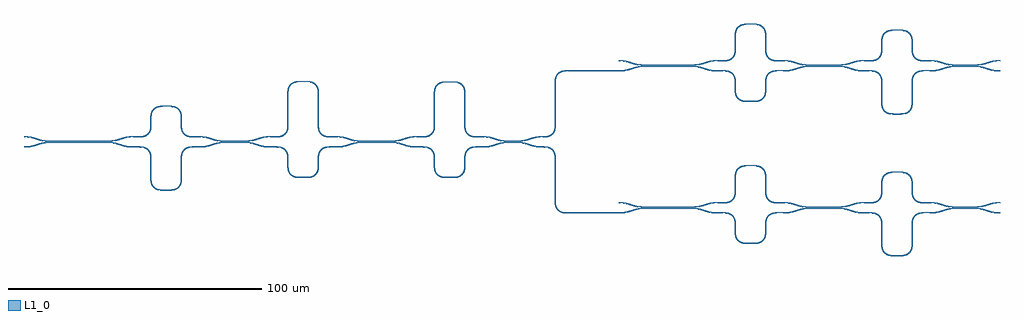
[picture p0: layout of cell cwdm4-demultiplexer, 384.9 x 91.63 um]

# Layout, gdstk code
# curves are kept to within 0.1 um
from math import pi, radians
import gdstk
lib = gdstk.Library(unit=1e-6, precision=1e-09)
def R(c, l, rs):  # rectangles x0, y0, x1, y1
    for r in rs: c.add(gdstk.rectangle(r[:2], r[2:], *l))
def P(c, l, *ps):  # polygons
    for p in ps: c.add(gdstk.Polygon(p, *l))
L1_0 = (1, 0)

coupler_gdsfactorypcompo = lib.new_cell('coupler_gdsfactorypcomponentspcouplerspcoupler_G0p2_L23_389e5cbf')
P(coupler_gdsfactorypcompo, L1_0, [(-10,-1.9),(-10,-1.5),(-8.63,-1.451),(-7.311,-1.285),(-6.238,-1.036),(-4.203,-0.377),(-3.153,-0.1),(-1.888,0.105),(-0.303,0.198),(24.059,0.175),(25.28,0.062),(26.39,-0.142),(29.125,-0.989),(30.264,-1.267),(31.438,-1.431),(33.05,-1.5),(33.05,-1.9),(31.908,-1.868),(30.71,-1.747),(29.18,-1.421),(26.209,-0.511),(25.007,-0.306),(23.906,-0.218),(-0.297,-0.202),(-1.612,-0.269),(-2.976,-0.471),(-4.006,-0.735),(-6.13,-1.421),(-7.342,-1.696),(-8.6,-1.85)],
  [(0,0.4),(-1.4,0.45),(-2.554,0.586),(-3.87,0.879),(-5.994,1.565),(-7.024,1.829),(-8.388,2.031),(-10,2.1),(-10,2.5),(-8.6,2.45),(-7.446,2.314),(-6.13,2.021),(-4.006,1.335),(-2.976,1.071),(-1.612,0.869),(0,0.8),(23.906,0.818),(25.007,0.906),(26.209,1.111),(29.095,1.997),(30.189,2.26),(31.524,2.44),(33.05,2.5),(33.05,2.1),(31.438,2.031),(30.264,1.867),(29.125,1.589),(26.39,0.742),(25.39,0.553),(24.192,0.432)])

c_coupler_gdsfactorypcompo = lib.new_cell('coupler_gdsfactorypcomponentspcouplerspcoupler_G0p2_L8p_850af633')
P(c_coupler_gdsfactorypcompo, L1_0, [(-10,-1.9),(-10,-1.5),(-8.63,-1.451),(-7.311,-1.285),(-6.238,-1.036),(-4.203,-0.377),(-3.153,-0.1),(-1.888,0.105),(-0.303,0.198),(8.333,0.198),(9.679,0.129),(11.552,-0.186),(14.105,-0.989),(15.244,-1.267),(16.418,-1.431),(18.03,-1.5),(18.03,-1.9),(16.888,-1.868),(15.69,-1.747),(14.16,-1.421),(11.279,-0.532),(10.312,-0.349),(9.275,-0.24),(-0.297,-0.202),(-1.612,-0.269),(-2.976,-0.471),(-4.006,-0.735),(-6.13,-1.421),(-7.342,-1.696),(-8.6,-1.85)],
  [(0,0.4),(-1.4,0.45),(-2.554,0.586),(-3.87,0.879),(-5.994,1.565),(-7.024,1.829),(-8.388,2.031),(-10,2.1),(-10,2.5),(-8.6,2.45),(-7.446,2.314),(-6.13,2.021),(-4.006,1.335),(-2.976,1.071),(-1.612,0.869),(0,0.8),(8.327,0.802),(9.642,0.869),(11.454,1.174),(14.075,1.997),(15.169,2.26),(16.504,2.44),(18.03,2.5),(18.03,2.1),(16.418,2.031),(15.244,1.867),(14.105,1.589),(11.552,0.786),(9.918,0.495),(8.333,0.402)])

c_coupler_gdsfactorypcompo_ = lib.new_cell('coupler_gdsfactorypcomponentspcouplerspcoupler_G0p2_L11_c30fc917')
P(c_coupler_gdsfactorypcompo_, L1_0, [(-10,-1.9),(-10,-1.5),(-8.63,-1.451),(-7.311,-1.285),(-6.238,-1.036),(-4.203,-0.377),(-3.153,-0.1),(-1.888,0.105),(-0.303,0.198),(11.77,0.2),(13.17,0.15),(14.218,0.031),(15.202,-0.164),(17.845,-0.989),(18.984,-1.267),(20.158,-1.431),(21.77,-1.5),(21.77,-1.9),(20.628,-1.868),(19.43,-1.747),(17.9,-1.421),(14.929,-0.511),(13.946,-0.334),(12.888,-0.232),(-0.297,-0.202),(-1.612,-0.269),(-2.976,-0.471),(-4.006,-0.735),(-6.13,-1.421),(-7.342,-1.696),(-8.6,-1.85)],
  [(0,0.4),(-1.4,0.45),(-2.554,0.586),(-3.87,0.879),(-5.994,1.565),(-7.024,1.829),(-8.388,2.031),(-10,2.1),(-10,2.5),(-8.6,2.45),(-7.446,2.314),(-6.13,2.021),(-4.006,1.335),(-2.976,1.071),(-1.612,0.869),(0,0.8),(11.77,0.8),(13.14,0.849),(14.259,0.981),(15.194,1.174),(17.815,1.997),(18.909,2.26),(20.244,2.44),(21.77,2.5),(21.77,2.1),(20.158,2.031),(18.984,1.867),(17.845,1.589),(15.292,0.786),(13.419,0.471),(11.77,0.4)])

c_coupler_gdsfactorypcompo__ = lib.new_cell('coupler_gdsfactorypcomponentspcouplerspcoupler_G0p2_L3p_db5099a5')
P(c_coupler_gdsfactorypcompo__, L1_0, [(-10,-1.9),(-10,-1.5),(-8.63,-1.451),(-7.311,-1.285),(-6.238,-1.036),(-4.203,-0.377),(-3.153,-0.1),(-1.888,0.105),(-0.303,0.198),(3.953,0.198),(5.654,0.091),(7.261,-0.209),(9.725,-0.989),(10.768,-1.248),(12.038,-1.431),(13.65,-1.5),(13.65,-1.9),(12.001,-1.829),(10.218,-1.536),(7.329,-0.641),(5.826,-0.334),(4.232,-0.208),(-0.297,-0.202),(-1.612,-0.269),(-2.976,-0.471),(-4.006,-0.735),(-6.13,-1.421),(-7.342,-1.696),(-8.6,-1.85)],
  [(0,0.4),(-1.4,0.45),(-2.554,0.586),(-3.87,0.879),(-5.994,1.565),(-7.024,1.829),(-8.388,2.031),(-10,2.1),(-10,2.5),(-8.6,2.45),(-7.446,2.314),(-6.13,2.021),(-4.006,1.335),(-2.976,1.071),(-1.612,0.869),(0,0.8),(3.947,0.802),(5.607,0.906),(7.16,1.196),(9.695,1.997),(10.789,2.26),(12.124,2.44),(13.65,2.5),(13.65,2.1),(12.038,2.031),(10.674,1.829),(9.644,1.565),(7.52,0.879),(6.098,0.569),(4.244,0.408)])

unnamed_17 = lib.new_cell('Unnamed_17')
P(unnamed_17, L1_0, [(33.05,2.1),(33.05,2.5),(36.011,2.515),(37.204,2.679),(38.095,3.036),(38.885,3.671),(39.448,4.513),(39.753,5.536),(39.844,6.612),(39.896,10.705),(40.041,11.554),(40.362,12.402),(40.711,12.95),(41.033,13.317),(41.4,13.639),(41.948,13.988),(42.517,14.227),(43.078,14.372),(44.492,14.497),(47.608,14.497),(48.739,14.42),(49.857,14.126),(50.434,13.826),(50.827,13.537),(51.287,13.077),(51.66,12.545),(51.929,11.971),(52.093,11.413),(52.24,10.139),(52.253,6.749),(52.309,5.801),(52.546,4.768),(53.029,3.893),(53.421,3.465),(53.881,3.112),(54.396,2.844),(55.024,2.648),(56.225,2.51),(59.05,2.5),(59.05,2.1),(55.787,2.134),(54.517,2.373),(53.948,2.612),(53.4,2.961),(52.92,3.4),(52.524,3.916),(52.224,4.493),(52.041,5.046),(51.866,6.32),(51.847,9.851),(51.774,10.932),(51.506,11.954),(50.981,12.82),(50.57,13.231),(50.095,13.564),(49.582,13.804),(48.945,13.98),(47.738,14.094),(44.499,14.097),(43.155,13.98),(42.133,13.633),(41.643,13.321),(41.215,12.929),(40.652,12.087),(40.398,11.326),(40.282,10.531),(40.244,6.602),(40.148,5.47),(39.81,4.344),(39.576,3.916),(39.18,3.4),(38.7,2.961),(38.295,2.69),(37.721,2.421),(37.163,2.257),(35.889,2.11)])

unnamed_18 = lib.new_cell('Unnamed_18')
P(unnamed_18, L1_0, [(44.772,-18.895),(43.787,-18.861),(43.078,-18.767),(42.379,-18.574),(41.805,-18.305),(41.273,-17.932),(40.813,-17.472),(40.44,-16.94),(40.171,-16.366),(39.952,-15.525),(39.86,-14.534),(39.818,-5.469),(39.597,-4.292),(39.157,-3.41),(38.457,-2.679),(37.967,-2.367),(37.458,-2.153),(36.814,-1.997),(36.011,-1.915),(33.05,-1.9),(33.05,-1.5),(36.03,-1.516),(37.304,-1.691),(38.006,-1.94),(38.569,-2.265),(39.067,-2.683),(39.485,-3.181),(39.738,-3.598),(39.977,-4.167),(40.216,-5.437),(40.256,-14.383),(40.326,-15.327),(40.503,-16.103),(40.786,-16.74),(41.119,-17.215),(41.53,-17.626),(42.005,-17.959),(42.518,-18.199),(43.155,-18.375),(44.774,-18.495),(47.738,-18.489),(48.945,-18.375),(49.582,-18.199),(50.095,-17.959),(50.57,-17.626),(50.981,-17.215),(51.314,-16.74),(51.554,-16.227),(51.806,-15.06),(51.866,-5.72),(52.007,-4.587),(52.362,-3.598),(52.711,-3.05),(53.273,-2.463),(53.805,-2.09),(54.517,-1.773),(55.22,-1.602),(55.929,-1.524),(59.05,-1.5),(59.05,-1.9),(55.954,-1.923),(55.155,-2.02),(54.518,-2.196),(54.005,-2.436),(53.421,-2.865),(52.943,-3.41),(52.652,-3.913),(52.37,-4.805),(52.265,-5.739),(52.204,-15.1),(52.093,-15.808),(51.929,-16.366),(51.66,-16.94),(51.287,-17.472),(50.827,-17.932),(50.295,-18.305),(49.721,-18.574),(49.163,-18.738),(47.889,-18.885)])

unnamed_19 = lib.new_cell('Unnamed_19')
P(unnamed_19, L1_0, [(87.08,2.1),(87.08,2.5),(90.311,2.532),(91.106,2.648),(91.734,2.844),(92.37,3.193),(92.915,3.671),(93.344,4.255),(93.584,4.768),(93.804,5.668),(93.877,6.749),(93.904,20.163),(94.008,21.014),(94.201,21.712),(94.47,22.286),(94.843,22.819),(95.561,23.477),(96.273,23.867),(97.108,24.114),(98.1,24.226),(101.638,24.239),(102.769,24.161),(103.887,23.867),(104.325,23.652),(104.857,23.279),(105.419,22.692),(105.84,21.997),(106.089,21.296),(106.234,20.446),(106.28,19.32),(106.283,6.749),(106.356,5.668),(106.576,4.768),(106.816,4.255),(107.245,3.671),(107.79,3.193),(108.426,2.844),(109.054,2.648),(109.849,2.532),(113.08,2.5),(113.08,2.1),(110.1,2.116),(109.391,2.18),(108.686,2.33),(107.978,2.612),(107.43,2.961),(106.95,3.4),(106.47,4.055),(106.071,5.046),(105.896,6.32),(105.879,19.456),(105.836,20.407),(105.701,21.196),(105.478,21.828),(105.101,22.448),(104.6,22.972),(104.125,23.305),(103.488,23.589),(102.844,23.745),(101.08,23.842),(97.984,23.819),(97.185,23.721),(96.548,23.546),(95.911,23.23),(95.346,22.776),(94.892,22.21),(94.576,21.573),(94.356,20.674),(94.283,19.593),(94.264,6.32),(94.089,5.046),(93.906,4.493),(93.606,3.916),(93.21,3.4),(92.599,2.865),(92.036,2.54),(91.334,2.291),(90.06,2.116)])

unnamed_20 = lib.new_cell('Unnamed_20')
P(unnamed_20, L1_0, [(98.802,-13.9),(97.25,-13.798),(96.124,-13.46),(95.696,-13.226),(95.18,-12.83),(94.741,-12.35),(94.392,-11.802),(94.071,-10.954),(93.926,-10.105),(93.874,-6.012),(93.783,-4.936),(93.478,-3.913),(92.915,-3.071),(92.125,-2.436),(91.234,-2.079),(90.041,-1.915),(87.08,-1.9),(87.08,-1.5),(89.919,-1.51),(91.052,-1.628),(91.613,-1.773),(92.182,-2.012),(92.73,-2.361),(93.097,-2.683),(93.419,-3.05),(93.768,-3.598),(94.007,-4.167),(94.152,-4.728),(94.27,-5.861),(94.312,-9.931),(94.459,-10.854),(94.747,-11.617),(95.059,-12.107),(95.451,-12.535),(96.293,-13.098),(97.316,-13.403),(98.804,-13.5),(101.631,-13.497),(102.712,-13.424),(103.734,-13.156),(104.6,-12.631),(105.011,-12.22),(105.344,-11.745),(105.584,-11.232),(105.732,-10.726),(105.865,-9.661),(105.883,-6.142),(105.96,-5.011),(106.254,-3.893),(106.741,-3.05),(107.18,-2.57),(107.696,-2.174),(108.273,-1.874),(108.826,-1.691),(110.1,-1.516),(113.08,-1.5),(113.08,-1.9),(110.119,-1.915),(109.316,-1.997),(108.672,-2.153),(108.163,-2.367),(107.673,-2.679),(106.973,-3.41),(106.576,-4.168),(106.339,-5.201),(106.283,-6.149),(106.27,-9.539),(106.123,-10.813),(105.959,-11.371),(105.69,-11.945),(105.317,-12.477),(104.857,-12.937),(104.464,-13.226),(103.887,-13.526),(102.91,-13.798),(101.778,-13.894)])

unnamed_21 = lib.new_cell('Unnamed_21')
P(unnamed_21, L1_0, [(144.85,2.1),(144.85,2.5),(148.081,2.532),(148.876,2.648),(149.504,2.844),(150.14,3.193),(150.685,3.671),(151.114,4.255),(151.354,4.768),(151.574,5.668),(151.647,6.749),(151.674,20.041),(151.778,20.892),(151.971,21.591),(152.24,22.165),(152.613,22.697),(153.2,23.259),(154.043,23.746),(154.878,23.992),(155.87,24.104),(159.268,24.119),(160.539,24.04),(161.657,23.746),(162.234,23.446),(162.627,23.157),(163.189,22.57),(163.61,21.876),(163.859,21.174),(164.004,20.325),(164.05,19.198),(164.056,6.612),(164.126,5.668),(164.346,4.768),(164.586,4.255),(165.015,3.671),(165.56,3.193),(166.196,2.844),(166.824,2.648),(167.619,2.532),(170.85,2.5),(170.85,2.1),(167.729,2.124),(167.02,2.202),(166.317,2.373),(165.605,2.69),(165.073,3.063),(164.511,3.65),(164.162,4.198),(163.807,5.187),(163.66,6.461),(163.649,19.334),(163.606,20.285),(163.471,21.074),(163.248,21.707),(162.871,22.327),(162.37,22.851),(161.895,23.184),(161.382,23.424),(160.745,23.6),(159.126,23.72),(155.889,23.705),(154.696,23.541),(154.063,23.318),(153.56,23.027),(153.015,22.549),(152.662,22.089),(152.394,21.574),(152.229,21.074),(152.065,19.881),(152.044,6.602),(151.948,5.47),(151.676,4.493),(151.285,3.781),(150.75,3.17),(150.234,2.774),(149.521,2.421),(148.822,2.228),(147.971,2.124)])

unnamed_22 = lib.new_cell('Unnamed_22')
P(unnamed_22, L1_0, [(156.572,-13.9),(155.02,-13.798),(153.894,-13.46),(153.466,-13.226),(152.95,-12.83),(152.511,-12.35),(152.162,-11.802),(151.841,-10.954),(151.696,-10.105),(151.644,-6.012),(151.553,-4.936),(151.248,-3.913),(150.685,-3.071),(149.895,-2.436),(149.004,-2.079),(147.811,-1.915),(144.85,-1.9),(144.85,-1.5),(147.689,-1.51),(148.822,-1.628),(149.383,-1.773),(149.952,-2.012),(150.5,-2.361),(150.867,-2.683),(151.189,-3.05),(151.538,-3.598),(151.777,-4.167),(151.922,-4.728),(152.04,-5.861),(152.082,-9.931),(152.229,-10.854),(152.517,-11.617),(152.829,-12.107),(153.221,-12.535),(154.063,-13.098),(155.086,-13.403),(156.574,-13.5),(159.401,-13.497),(160.482,-13.424),(161.504,-13.156),(162.37,-12.631),(162.781,-12.22),(163.114,-11.745),(163.354,-11.232),(163.502,-10.726),(163.635,-9.661),(163.653,-6.142),(163.73,-5.011),(164.024,-3.893),(164.511,-3.05),(164.95,-2.57),(165.466,-2.174),(166.043,-1.874),(166.596,-1.691),(167.87,-1.516),(170.85,-1.5),(170.85,-1.9),(167.889,-1.915),(167.086,-1.997),(166.442,-2.153),(165.933,-2.367),(165.443,-2.679),(164.743,-3.41),(164.346,-4.168),(164.109,-5.201),(164.053,-6.149),(164.04,-9.539),(163.893,-10.813),(163.729,-11.371),(163.46,-11.945),(163.087,-12.477),(162.627,-12.937),(162.234,-13.226),(161.657,-13.526),(160.68,-13.798),(159.548,-13.894)])

cwdm4_demultiplexer_s1 = lib.new_cell('cwdm4-demultiplexer-s1')
cwdm4_demultiplexer_s1.add(gdstk.Reference(coupler_gdsfactorypcompo, (0,0)))
cwdm4_demultiplexer_s1.add(gdstk.Reference(c_coupler_gdsfactorypcompo, (69.05,0)))
cwdm4_demultiplexer_s1.add(gdstk.Reference(c_coupler_gdsfactorypcompo_, (123.08,0)))
cwdm4_demultiplexer_s1.add(gdstk.Reference(c_coupler_gdsfactorypcompo__, (180.85,0)))
cwdm4_demultiplexer_s1.add(gdstk.Reference(unnamed_17, (0,0)))
cwdm4_demultiplexer_s1.add(gdstk.Reference(unnamed_18, (0,0)))
cwdm4_demultiplexer_s1.add(gdstk.Reference(unnamed_19, (0,0)))
cwdm4_demultiplexer_s1.add(gdstk.Reference(unnamed_20, (0,0)))
cwdm4_demultiplexer_s1.add(gdstk.Reference(unnamed_21, (0,0)))
cwdm4_demultiplexer_s1.add(gdstk.Reference(unnamed_22, (0,0)))

c_coupler_gdsfactorypcompo___ = lib.new_cell('coupler_gdsfactorypcomponentspcouplerspcoupler_G0p2_L19_e80faafe')
P(c_coupler_gdsfactorypcompo___, L1_0, [(-10,-1.9),(-10,-1.5),(-8.63,-1.451),(-7.311,-1.285),(-6.238,-1.036),(-4.203,-0.377),(-3.153,-0.1),(-1.888,0.105),(-0.303,0.198),(20.142,0.168),(21.34,0.047),(22.34,-0.142),(25.075,-0.989),(26.214,-1.267),(27.388,-1.431),(29,-1.5),(29,-1.9),(27.858,-1.868),(26.66,-1.747),(25.13,-1.421),(22.159,-0.511),(20.957,-0.306),(19.856,-0.218),(-0.297,-0.202),(-1.612,-0.269),(-2.976,-0.471),(-4.006,-0.735),(-6.13,-1.421),(-7.342,-1.696),(-8.6,-1.85)],
  [(0,0.4),(-1.4,0.45),(-2.554,0.586),(-3.87,0.879),(-5.994,1.565),(-7.024,1.829),(-8.388,2.031),(-10,2.1),(-10,2.5),(-8.6,2.45),(-7.446,2.314),(-6.13,2.021),(-4.006,1.335),(-2.976,1.071),(-1.612,0.869),(0,0.8),(20.118,0.832),(21.176,0.934),(22.249,1.132),(25.045,1.997),(26.139,2.26),(27.474,2.44),(29,2.5),(29,2.1),(27.388,2.031),(26.214,1.867),(25.075,1.589),(22.432,0.764),(21.448,0.569),(20.4,0.45),(19,0.4)])

c_coupler_gdsfactorypcompo____ = lib.new_cell('coupler_gdsfactorypcomponentspcouplerspcoupler_G0p2_L7p_c53fcf5f')
P(c_coupler_gdsfactorypcompo____, L1_0, [(-10,-1.9),(-10,-1.5),(-8.63,-1.451),(-7.311,-1.285),(-6.238,-1.036),(-4.203,-0.377),(-3.153,-0.1),(-1.888,0.105),(-0.303,0.198),(7.933,0.198),(9.279,0.129),(11.152,-0.186),(13.705,-0.989),(14.844,-1.267),(16.018,-1.431),(17.63,-1.5),(17.63,-1.9),(16.488,-1.868),(15.29,-1.747),(13.76,-1.421),(10.879,-0.532),(9,-0.249),(7.63,-0.2),(-0.297,-0.202),(-1.612,-0.269),(-2.976,-0.471),(-4.006,-0.735),(-6.13,-1.421),(-7.342,-1.696),(-8.6,-1.85)],
  [(0,0.4),(-1.4,0.45),(-2.554,0.586),(-3.87,0.879),(-5.994,1.565),(-7.024,1.829),(-8.388,2.031),(-10,2.1),(-10,2.5),(-8.6,2.45),(-7.446,2.314),(-6.13,2.021),(-4.006,1.335),(-2.976,1.071),(-1.612,0.869),(0,0.8),(7.927,0.802),(9.242,0.869),(11.054,1.174),(13.675,1.997),(14.769,2.26),(16.104,2.44),(17.63,2.5),(17.63,2.1),(16.018,2.031),(14.844,1.867),(13.705,1.589),(11.152,0.786),(9.518,0.495),(7.933,0.402)])

unnamed_30 = lib.new_cell('Unnamed_30')
P(unnamed_30, L1_0, [(29,2.1),(29,2.5),(31.961,2.515),(33.282,2.714),(33.787,2.902),(34.29,3.193),(35.021,3.893),(35.504,4.768),(35.756,5.935),(35.816,12.837),(35.928,13.829),(36.174,14.664),(36.474,15.241),(36.87,15.757),(37.35,16.196),(37.755,16.467),(38.329,16.736),(38.887,16.9),(39.595,17.011),(40.442,17.054),(43.698,17.051),(44.83,16.955),(45.533,16.784),(46.102,16.545),(46.65,16.196),(47.017,15.874),(47.435,15.376),(47.76,14.813),(47.97,14.251),(48.12,13.546),(48.199,12.275),(48.223,6.204),(48.379,5.146),(48.736,4.255),(49.069,3.78),(49.593,3.279),(50.083,2.967),(50.718,2.714),(52.039,2.515),(55,2.5),(55,2.1),(52.302,2.106),(51.311,2.18),(50.606,2.33),(50.044,2.54),(49.481,2.865),(48.983,3.283),(48.565,3.781),(48.24,4.344),(48.03,4.906),(47.88,5.611),(47.803,6.742),(47.768,13.088),(47.586,14.139),(47.188,15.026),(46.835,15.486),(46.29,15.964),(45.654,16.313),(45.026,16.509),(43.825,16.647),(40.449,16.654),(39.105,16.537),(38.468,16.361),(37.955,16.121),(37.48,15.788),(37.069,15.377),(36.736,14.902),(36.496,14.389),(36.32,13.752),(36.215,12.818),(36.154,5.895),(36.043,5.187),(35.879,4.629),(35.61,4.055),(35.339,3.65),(34.9,3.17),(34.384,2.774),(33.807,2.474),(33.254,2.291),(31.98,2.116)])

unnamed_31 = lib.new_cell('Unnamed_31')
P(unnamed_31, L1_0, [(40.722,-13.9),(39.17,-13.798),(38.044,-13.46),(37.616,-13.226),(37.1,-12.83),(36.661,-12.35),(36.312,-11.802),(35.991,-10.954),(35.846,-10.105),(35.794,-6.012),(35.703,-4.936),(35.398,-3.913),(34.835,-3.071),(34.045,-2.436),(33.154,-2.079),(31.961,-1.915),(29,-1.9),(29,-1.5),(31.839,-1.51),(32.972,-1.628),(33.533,-1.773),(34.102,-2.012),(34.65,-2.361),(35.017,-2.683),(35.339,-3.05),(35.688,-3.598),(35.927,-4.167),(36.072,-4.728),(36.19,-5.861),(36.232,-9.931),(36.379,-10.854),(36.667,-11.617),(36.979,-12.107),(37.371,-12.535),(38.213,-13.098),(39.236,-13.403),(40.724,-13.5),(43.551,-13.497),(44.632,-13.424),(45.654,-13.156),(46.52,-12.631),(46.931,-12.22),(47.264,-11.745),(47.504,-11.232),(47.652,-10.726),(47.785,-9.661),(47.803,-6.142),(47.88,-5.011),(48.174,-3.893),(48.661,-3.05),(49.1,-2.57),(49.616,-2.174),(50.193,-1.874),(50.746,-1.691),(52.02,-1.516),(55,-1.5),(55,-1.9),(52.039,-1.915),(51.236,-1.997),(50.592,-2.153),(50.083,-2.367),(49.593,-2.679),(48.893,-3.41),(48.496,-4.168),(48.259,-5.201),(48.203,-6.149),(48.19,-9.539),(48.043,-10.813),(47.879,-11.371),(47.61,-11.945),(47.237,-12.477),(46.777,-12.937),(46.384,-13.226),(45.807,-13.526),(44.83,-13.798),(43.698,-13.894)])

unnamed_32 = lib.new_cell('Unnamed_32')
P(unnamed_32, L1_0, [(86.77,2.1),(86.77,2.5),(89.731,2.515),(90.924,2.679),(91.815,3.036),(92.605,3.671),(93.168,4.513),(93.473,5.536),(93.564,6.612),(93.616,10.705),(93.761,11.554),(94.082,12.402),(94.431,12.95),(94.753,13.317),(95.12,13.639),(95.668,13.988),(96.237,14.227),(96.798,14.372),(98.212,14.497),(101.328,14.497),(102.459,14.42),(103.577,14.126),(104.154,13.826),(104.547,13.537),(105.007,13.077),(105.38,12.545),(105.649,11.971),(105.813,11.413),(105.96,10.139),(105.973,6.749),(106.029,5.801),(106.266,4.768),(106.749,3.893),(107.141,3.465),(107.601,3.112),(108.116,2.844),(108.744,2.648),(109.945,2.51),(112.77,2.5),(112.77,2.1),(109.507,2.134),(108.237,2.373),(107.668,2.612),(107.12,2.961),(106.64,3.4),(106.244,3.916),(105.944,4.493),(105.761,5.046),(105.586,6.32),(105.567,9.851),(105.494,10.932),(105.226,11.954),(104.701,12.82),(104.29,13.231),(103.815,13.564),(103.302,13.804),(102.665,13.98),(101.458,14.094),(98.219,14.097),(96.875,13.98),(95.853,13.633),(95.363,13.321),(94.935,12.929),(94.372,12.087),(94.118,11.326),(94.002,10.531),(93.964,6.602),(93.868,5.47),(93.53,4.344),(93.296,3.916),(92.9,3.4),(92.42,2.961),(92.015,2.69),(91.441,2.421),(90.883,2.257),(89.609,2.11)])

unnamed_33 = lib.new_cell('Unnamed_33')
P(unnamed_33, L1_0, [(98.492,-18.757),(97.507,-18.723),(96.798,-18.629),(96.099,-18.436),(95.525,-18.167),(94.993,-17.794),(94.533,-17.334),(94.16,-16.802),(93.891,-16.228),(93.672,-15.387),(93.58,-14.396),(93.538,-5.469),(93.317,-4.292),(92.877,-3.41),(92.177,-2.679),(91.687,-2.367),(91.178,-2.153),(90.534,-1.997),(89.731,-1.915),(86.77,-1.9),(86.77,-1.5),(89.75,-1.516),(91.024,-1.691),(91.726,-1.94),(92.289,-2.265),(92.787,-2.683),(93.205,-3.181),(93.458,-3.598),(93.697,-4.167),(93.936,-5.437),(93.98,-14.382),(94.067,-15.321),(94.266,-16.089),(94.506,-16.602),(94.935,-17.186),(95.363,-17.578),(95.853,-17.89),(96.875,-18.237),(98.494,-18.357),(101.458,-18.351),(102.665,-18.237),(103.302,-18.061),(103.815,-17.821),(104.29,-17.488),(104.701,-17.077),(105.034,-16.602),(105.274,-16.089),(105.526,-14.922),(105.586,-5.72),(105.727,-4.587),(106.082,-3.598),(106.431,-3.05),(106.993,-2.463),(107.525,-2.09),(108.237,-1.773),(108.94,-1.602),(109.649,-1.524),(112.77,-1.5),(112.77,-1.9),(109.674,-1.923),(108.875,-2.02),(108.238,-2.196),(107.725,-2.436),(107.141,-2.865),(106.663,-3.41),(106.372,-3.913),(106.09,-4.805),(105.985,-5.739),(105.924,-14.962),(105.813,-15.67),(105.649,-16.228),(105.38,-16.802),(105.007,-17.334),(104.547,-17.794),(104.015,-18.167),(103.441,-18.436),(102.883,-18.6),(101.609,-18.747)])

cwdm4_demultiplexer_s2a = lib.new_cell('cwdm4-demultiplexer-s2a')
cwdm4_demultiplexer_s2a.add(gdstk.Reference(c_coupler_gdsfactorypcompo___, (0,0)))
cwdm4_demultiplexer_s2a.add(gdstk.Reference(c_coupler_gdsfactorypcompo_, (65,0)))
cwdm4_demultiplexer_s2a.add(gdstk.Reference(c_coupler_gdsfactorypcompo____, (122.77,0)))
cwdm4_demultiplexer_s2a.add(gdstk.Reference(unnamed_30, (0,0)))
cwdm4_demultiplexer_s2a.add(gdstk.Reference(unnamed_31, (0,0)))
cwdm4_demultiplexer_s2a.add(gdstk.Reference(unnamed_32, (0,0)))
cwdm4_demultiplexer_s2a.add(gdstk.Reference(unnamed_33, (0,0)))

unnamed_35 = lib.new_cell('Unnamed_35')
P(unnamed_35, L1_0, [(29,2.1),(29,2.5),(31.961,2.515),(33.282,2.714),(33.787,2.902),(34.29,3.193),(35.021,3.893),(35.504,4.768),(35.756,5.935),(35.816,12.649),(35.928,13.642),(36.174,14.477),(36.474,15.053),(36.763,15.447),(37.223,15.907),(37.755,16.28),(38.329,16.549),(38.887,16.712),(39.595,16.823),(40.442,16.867),(43.698,16.864),(44.972,16.742),(45.533,16.597),(46.102,16.358),(46.519,16.105),(47.017,15.687),(47.435,15.189),(47.76,14.625),(47.97,14.064),(48.12,13.358),(48.197,12.227),(48.232,6.069),(48.414,5.018),(48.736,4.255),(49.069,3.78),(49.593,3.279),(50.083,2.967),(50.718,2.714),(52.039,2.515),(55,2.5),(55,2.1),(52.442,2.103),(51.453,2.162),(50.746,2.291),(50.193,2.474),(49.616,2.774),(49.1,3.17),(48.661,3.65),(48.312,4.198),(48.073,4.767),(47.902,5.47),(47.803,6.742),(47.768,12.901),(47.586,13.951),(47.188,14.838),(46.835,15.299),(46.29,15.777),(45.654,16.126),(45.026,16.322),(43.825,16.46),(40.449,16.467),(38.974,16.322),(38.468,16.174),(37.955,15.933),(37.48,15.6),(37.069,15.19),(36.544,14.323),(36.32,13.565),(36.215,12.63),(36.199,6.882),(36.138,5.753),(35.879,4.629),(35.61,4.055),(35.339,3.65),(34.9,3.17),(34.384,2.774),(33.807,2.474),(33.254,2.291),(31.98,2.116)])

unnamed_36 = lib.new_cell('Unnamed_36')
P(unnamed_36, L1_0, [(40.722,-13.9),(39.17,-13.798),(38.044,-13.46),(37.616,-13.226),(37.1,-12.83),(36.661,-12.35),(36.312,-11.802),(35.991,-10.954),(35.846,-10.105),(35.794,-6.012),(35.703,-4.936),(35.398,-3.913),(34.835,-3.071),(34.045,-2.436),(33.154,-2.079),(31.961,-1.915),(29,-1.9),(29,-1.5),(31.839,-1.51),(32.972,-1.628),(33.533,-1.773),(34.102,-2.012),(34.65,-2.361),(35.017,-2.683),(35.339,-3.05),(35.688,-3.598),(35.927,-4.167),(36.072,-4.728),(36.19,-5.861),(36.232,-9.931),(36.379,-10.854),(36.667,-11.617),(36.979,-12.107),(37.371,-12.535),(38.213,-13.098),(39.236,-13.403),(40.724,-13.5),(43.551,-13.497),(44.632,-13.424),(45.654,-13.156),(46.52,-12.631),(46.931,-12.22),(47.264,-11.745),(47.504,-11.232),(47.652,-10.726),(47.785,-9.661),(47.803,-6.142),(47.88,-5.011),(48.174,-3.893),(48.661,-3.05),(49.1,-2.57),(49.616,-2.174),(50.193,-1.874),(50.746,-1.691),(52.02,-1.516),(55,-1.5),(55,-1.9),(52.039,-1.915),(51.236,-1.997),(50.592,-2.153),(50.083,-2.367),(49.593,-2.679),(48.893,-3.41),(48.496,-4.168),(48.259,-5.201),(48.203,-6.149),(48.19,-9.539),(48.043,-10.813),(47.879,-11.371),(47.61,-11.945),(47.237,-12.477),(46.777,-12.937),(46.384,-13.226),(45.807,-13.526),(44.83,-13.798),(43.698,-13.894)])

unnamed_37 = lib.new_cell('Unnamed_37')
P(unnamed_37, L1_0, [(86.77,2.1),(86.77,2.5),(89.731,2.515),(90.924,2.679),(91.815,3.036),(92.605,3.671),(93.168,4.513),(93.473,5.536),(93.564,6.612),(93.616,10.705),(93.761,11.554),(94.082,12.402),(94.431,12.95),(94.753,13.317),(95.12,13.639),(95.668,13.988),(96.237,14.227),(96.798,14.372),(98.212,14.497),(101.328,14.497),(102.459,14.42),(103.577,14.126),(104.154,13.826),(104.547,13.537),(105.007,13.077),(105.38,12.545),(105.649,11.971),(105.813,11.413),(105.96,10.139),(105.973,6.749),(106.029,5.801),(106.266,4.768),(106.749,3.893),(107.141,3.465),(107.601,3.112),(108.116,2.844),(108.744,2.648),(109.945,2.51),(112.77,2.5),(112.77,2.1),(109.507,2.134),(108.237,2.373),(107.668,2.612),(107.12,2.961),(106.64,3.4),(106.244,3.916),(105.944,4.493),(105.761,5.046),(105.586,6.32),(105.567,9.851),(105.494,10.932),(105.226,11.954),(104.701,12.82),(104.29,13.231),(103.815,13.564),(103.302,13.804),(102.665,13.98),(101.458,14.094),(98.219,14.097),(96.875,13.98),(95.853,13.633),(95.363,13.321),(94.935,12.929),(94.372,12.087),(94.118,11.326),(94.002,10.531),(93.964,6.602),(93.868,5.47),(93.53,4.344),(93.296,3.916),(92.9,3.4),(92.42,2.961),(92.015,2.69),(91.441,2.421),(90.883,2.257),(89.609,2.11)])

unnamed_38 = lib.new_cell('Unnamed_38')
P(unnamed_38, L1_0, [(98.77,-18.895),(96.94,-18.792),(96.237,-18.622),(95.668,-18.383),(95.12,-18.033),(94.64,-17.594),(94.244,-17.078),(93.891,-16.365),(93.672,-15.525),(93.58,-14.533),(93.538,-5.469),(93.317,-4.292),(92.877,-3.41),(92.177,-2.679),(91.687,-2.367),(91.178,-2.153),(90.534,-1.997),(89.731,-1.915),(86.77,-1.9),(86.77,-1.5),(89.75,-1.516),(91.024,-1.691),(91.726,-1.94),(92.289,-2.265),(92.787,-2.683),(93.205,-3.181),(93.458,-3.598),(93.697,-4.167),(93.936,-5.437),(93.98,-14.519),(94.067,-15.459),(94.266,-16.226),(94.506,-16.739),(94.839,-17.215),(95.363,-17.716),(95.853,-18.028),(96.362,-18.242),(97.006,-18.398),(98.77,-18.495),(101.731,-18.479),(103.052,-18.281),(103.687,-18.028),(104.29,-17.625),(104.701,-17.215),(105.103,-16.612),(105.422,-15.72),(105.555,-14.655),(105.616,-5.295),(105.727,-4.587),(105.891,-4.029),(106.16,-3.455),(106.533,-2.923),(106.993,-2.463),(107.525,-2.09),(108.099,-1.821),(108.657,-1.657),(109.931,-1.51),(112.77,-1.5),(112.77,-1.9),(109.674,-1.923),(108.875,-2.02),(108.238,-2.196),(107.725,-2.436),(107.141,-2.865),(106.663,-3.41),(106.372,-3.913),(106.09,-4.805),(105.985,-5.739),(105.924,-15.099),(105.813,-15.808),(105.649,-16.365),(105.38,-16.939),(105.007,-17.472),(104.547,-17.932),(104.015,-18.305),(103.441,-18.574),(102.883,-18.737),(101.609,-18.885)])

cwdm4_demultiplexer_s2b = lib.new_cell('cwdm4-demultiplexer-s2b')
cwdm4_demultiplexer_s2b.add(gdstk.Reference(c_coupler_gdsfactorypcompo___, (0,0)))
cwdm4_demultiplexer_s2b.add(gdstk.Reference(c_coupler_gdsfactorypcompo_, (65,0)))
cwdm4_demultiplexer_s2b.add(gdstk.Reference(c_coupler_gdsfactorypcompo____, (122.77,0)))
cwdm4_demultiplexer_s2b.add(gdstk.Reference(unnamed_35, (0,0)))
cwdm4_demultiplexer_s2b.add(gdstk.Reference(unnamed_36, (0,0)))
cwdm4_demultiplexer_s2b.add(gdstk.Reference(unnamed_37, (0,0)))
cwdm4_demultiplexer_s2b.add(gdstk.Reference(unnamed_38, (0,0)))

bend_euler_gdsfactorypco = lib.new_cell('bend_euler_gdsfactorypcomponentspbendspbend_euler_R5_A9_3131f0b8')
P(bend_euler_gdsfactorypco, L1_0, [(0,-0.2),(0,0.2),(1.365,0.244),(2.282,0.414),(3.045,0.736),(3.734,1.266),(4.264,1.955),(4.586,2.718),(4.756,3.635),(4.8,5),(5.2,5),(5.154,3.595),(4.97,2.606),(4.61,1.755),(4.017,0.983),(3.245,0.39),(2.394,0.03),(1.405,-0.154)])

straight_gdsfactorypcomp = lib.new_cell('straight_gdsfactorypcomponentspwaveguidespstraight_L16__a05f3436')
R(straight_gdsfactorypcomp, L1_0, [(0,-0.2,16,0.2)])

c_straight_gdsfactorypcomp = lib.new_cell('straight_gdsfactorypcomponentspwaveguidespstraight_L20__ff36d51b')
R(c_straight_gdsfactorypcomp, L1_0, [(0,-0.2,20,0.2)])

cwdm4_demultiplexer = lib.new_cell('cwdm4-demultiplexer')
cwdm4_demultiplexer.add(gdstk.Reference(cwdm4_demultiplexer_s1, (0,0)))
cwdm4_demultiplexer.add(gdstk.Reference(cwdm4_demultiplexer_s2a, (234.5,-26)))
cwdm4_demultiplexer.add(gdstk.Reference(cwdm4_demultiplexer_s2b, (234.5,30)))
cwdm4_demultiplexer.add(gdstk.Reference(bend_euler_gdsfactorypco, (199.5,7.3), rotation=3*pi/2, x_reflection=True))
cwdm4_demultiplexer.add(gdstk.Reference(bend_euler_gdsfactorypco, (204.5,28.3), rotation=pi))
cwdm4_demultiplexer.add(gdstk.Reference(straight_gdsfactorypcomp, (199.5,7.3), rotation=pi/2))
cwdm4_demultiplexer.add(gdstk.Reference(c_straight_gdsfactorypcomp, (204.5,28.3)))
cwdm4_demultiplexer.add(gdstk.Reference(bend_euler_gdsfactorypco, (199.5,-6.7), rotation=pi/2))
cwdm4_demultiplexer.add(gdstk.Reference(bend_euler_gdsfactorypco, (204.5,-27.7), rotation=pi, x_reflection=True))
cwdm4_demultiplexer.add(gdstk.Reference(straight_gdsfactorypcomp, (199.5,-6.7), rotation=3*pi/2))
cwdm4_demultiplexer.add(gdstk.Reference(c_straight_gdsfactorypcomp, (204.5,-27.7)))

lib.write_gds('cwdm4-demultiplexer.gds')
